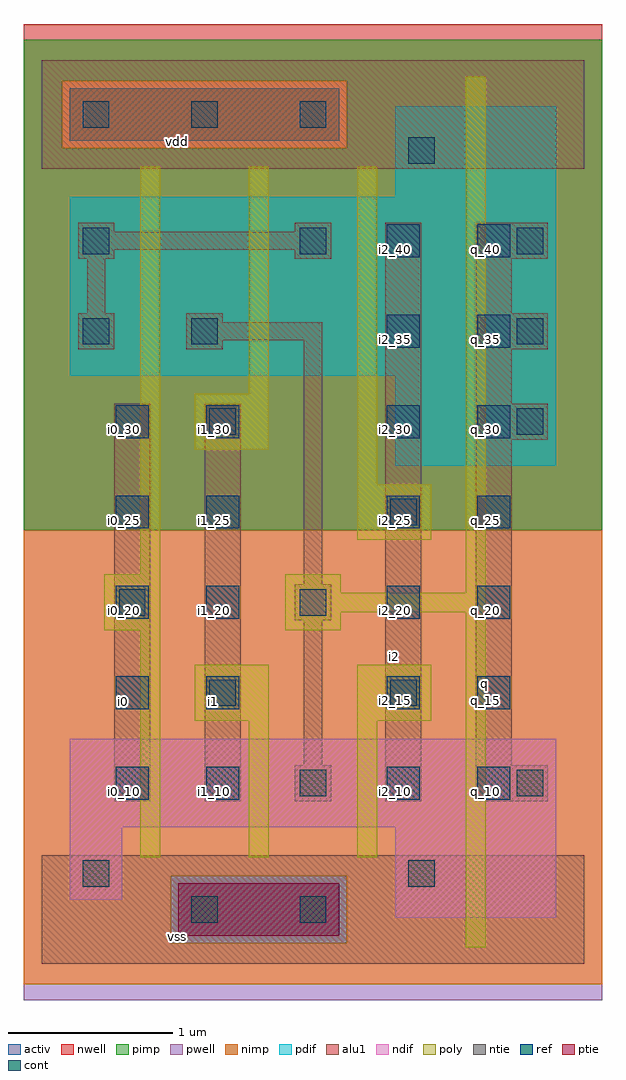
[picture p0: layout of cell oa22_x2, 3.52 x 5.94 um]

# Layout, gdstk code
import gdstk
lib = gdstk.Library(unit=1e-6, precision=2.5e-09)
def R(c, l, rs):  # rectangles x0, y0, x1, y1
    for r in rs: c.add(gdstk.rectangle(r[:2], r[2:], *l))
def A(c, l, x, y, w, h, nx, ny, dx, dy):  # array of equal rectangles
    R(c, l, [(x+i*dx, y+j*dy, x+i*dx+w, y+j*dy+h) for i in range(nx) for j in range(ny)])
ndif = (3, 0)
pdif = (4, 0)
ntie = (5, 0)
ptie = (6, 0)
ref = (24, 0)
cont = (25, 0)
pwell = (41, 0)
nwell = (42, 0)
activ = (43, 0)
pimp = (44, 0)
nimp = (45, 0)
poly = (46, 0)
alu1 = (49, 0)

oa22_x2 = lib.new_cell('oa22_x2')
R(oa22_x2, ndif, [(2.15,0.28,3.13,0.83), (2.15,0.28,3.13,0.83), (0.17,0.39,0.49,0.83), (0.17,0.39,0.49,0.83), (0.17,0.83,3.13,1.37), (0.17,0.83,3.13,1.37)])
R(oa22_x2, pdif, [(2.15,3.03,3.13,3.58), (2.15,3.03,3.13,3.58), (0.17,3.58,3.13,4.67), (0.17,3.58,3.13,4.67), (2.15,4.67,3.13,5.22), (2.15,4.67,3.13,5.22)])
R(oa22_x2, ntie, [(0.17,5.01,1.81,5.33), (0.17,5.01,1.81,5.33)])
R(oa22_x2, ptie, [(0.83,0.17,1.81,0.49), (0.83,0.17,1.81,0.49)])
A(oa22_x2, ref, 0.45, 1, 0.2, 0.2, 1, 5, 0, 0.55)
A(oa22_x2, ref, 1, 1, 0.2, 0.2, 1, 5, 0, 0.55)
A(oa22_x2, ref, 2.1, 1, 0.2, 0.2, 1, 7, 0, 0.55)
A(oa22_x2, ref, 2.65, 1, 0.2, 0.2, 1, 7, 0, 0.55)
A(oa22_x2, cont, 0.25, 4.32, 0.16, 0.16, 3, 1, 1.32, 0)
A(oa22_x2, cont, 0.25, 5.09, 0.16, 0.16, 3, 1, 0.66, 0)
R(oa22_x2, cont, [(0.91,0.25,1.07,0.41), (1.57,0.25,1.73,0.41), (0.25,0.47,0.41,0.63), (2.23,0.47,2.39,0.63), (1.57,1.02,1.73,1.18), (2.89,1.02,3.05,1.18), (1.02,1.57,1.18,1.73), (2.12,1.57,2.28,1.73), (0.47,2.12,0.63,2.28), (1.57,2.12,1.73,2.28), (2.12,2.67,2.28,2.83), (1.02,3.22,1.18,3.38), (2.89,3.22,3.05,3.38), (0.25,3.77,0.41,3.93), (0.91,3.77,1.07,3.93), (2.89,3.77,3.05,3.93), (2.23,4.87,2.39,5.03)])
R(oa22_x2, pwell, [(-0.11,-0.22,3.41,2.64)])
R(oa22_x2, nwell, [(-0.11,2.64,3.41,5.72)])
R(oa22_x2, activ, [(0.83,0.17,1.81,0.49), (0.83,0.17,1.81,0.49), (2.15,0.28,3.13,0.83), (2.15,0.28,3.13,0.83), (0.17,0.39,0.49,0.83), (0.17,0.39,0.49,0.83), (0.17,0.83,3.13,1.37), (0.17,0.83,3.13,1.37), (2.15,3.03,3.13,3.58), (2.15,3.03,3.13,3.58), (0.17,3.58,3.13,4.67), (0.17,3.58,3.13,4.67), (2.15,4.67,3.13,5.22), (2.15,4.67,3.13,5.22), (0.17,5.01,1.81,5.33), (0.17,5.01,1.81,5.33)])
R(oa22_x2, pimp, [(0.785,0.125,1.855,0.535), (-0.11,2.64,3.41,4.965), (-0.11,4.965,0.125,5.375), (1.855,4.965,3.41,5.375), (-0.11,5.375,3.41,5.625)])
R(oa22_x2, nimp, [(-0.11,-0.125,3.41,0.125), (-0.11,0.125,0.785,0.535), (1.855,0.125,3.41,0.535), (-0.11,0.535,3.41,2.64), (0.125,4.965,1.855,5.375)])
R(oa22_x2, poly, [(2.58,0.1,2.7,2.14), (0.6,0.65,0.72,2.03), (1.26,0.65,1.38,1.48), (1.92,0.65,2.04,1.48), (0.93,1.48,1.38,1.82), (1.92,1.48,2.37,1.82), (0.38,2.03,0.72,2.37), (1.48,2.03,1.82,2.14), (1.48,2.14,2.7,2.26), (1.48,2.26,1.82,2.37), (2.58,2.26,2.7,5.4), (0.6,2.37,0.72,4.85), (1.92,2.58,2.37,2.92), (1.92,2.92,2.04,4.85), (0.93,3.13,1.38,3.47), (1.26,3.47,1.38,4.85)])
A(oa22_x2, alu1, 2.64, 3.19, 0.44, 0.22, 1, 3, 0, 0.55)
R(oa22_x2, alu1, [(0,0,3.3,0.66), (0.44,0.99,0.66,3.41), (0.99,0.99,1.21,3.41), (1.54,0.99,1.76,1.21), (2.09,0.99,2.31,4.51), (2.64,0.99,3.08,1.21), (1.595,1.21,1.705,2.09), (2.64,1.21,2.86,3.19), (1.54,2.09,1.76,2.31), (1.595,2.31,1.705,3.795), (2.64,3.41,2.86,3.74), (0.22,3.74,0.44,3.96), (0.88,3.74,1.1,3.795), (0.88,3.795,1.705,3.905), (0.88,3.905,1.1,3.96), (0.275,3.96,0.385,4.29), (2.64,3.96,2.86,4.29), (0.22,4.29,0.44,4.345), (1.54,4.29,1.76,4.345), (0.22,4.345,1.76,4.455), (0.22,4.455,0.44,4.51), (1.54,4.455,1.76,4.51), (0,4.84,3.3,5.5)])
oa22_x2.add(gdstk.Label('vss', (0.825,0.165), layer=49, texttype=0))
oa22_x2.add(gdstk.Label('q', (2.695,1.705), layer=49, texttype=0))
oa22_x2.add(gdstk.Label('i2', (2.145,1.87), layer=49, texttype=0))
oa22_x2.add(gdstk.Label('i1', (1.045,1.595), layer=49, texttype=0))
oa22_x2.add(gdstk.Label('i0', (0.495,1.595), layer=49, texttype=0))
oa22_x2.add(gdstk.Label('vdd', (0.825,5.005), layer=49, texttype=0))
oa22_x2.add(gdstk.Label('i0_10', (0.5,1.05), layer=24, texttype=0))
oa22_x2.add(gdstk.Label('i0_15', (0.5,1.6), layer=24, texttype=0))
oa22_x2.add(gdstk.Label('i0_20', (0.5,2.15), layer=24, texttype=0))
oa22_x2.add(gdstk.Label('i0_25', (0.5,2.7), layer=24, texttype=0))
oa22_x2.add(gdstk.Label('i0_30', (0.5,3.25), layer=24, texttype=0))
oa22_x2.add(gdstk.Label('i1_30', (1.05,3.25), layer=24, texttype=0))
oa22_x2.add(gdstk.Label('i1_25', (1.05,2.7), layer=24, texttype=0))
oa22_x2.add(gdstk.Label('i1_20', (1.05,2.15), layer=24, texttype=0))
oa22_x2.add(gdstk.Label('i1_15', (1.05,1.6), layer=24, texttype=0))
oa22_x2.add(gdstk.Label('i1_10', (1.05,1.05), layer=24, texttype=0))
oa22_x2.add(gdstk.Label('i2_40', (2.15,4.35), layer=24, texttype=0))
oa22_x2.add(gdstk.Label('i2_35', (2.15,3.8), layer=24, texttype=0))
oa22_x2.add(gdstk.Label('i2_30', (2.15,3.25), layer=24, texttype=0))
oa22_x2.add(gdstk.Label('i2_25', (2.15,2.7), layer=24, texttype=0))
oa22_x2.add(gdstk.Label('i2_20', (2.15,2.15), layer=24, texttype=0))
oa22_x2.add(gdstk.Label('i2_15', (2.15,1.6), layer=24, texttype=0))
oa22_x2.add(gdstk.Label('i2_10', (2.15,1.05), layer=24, texttype=0))
oa22_x2.add(gdstk.Label('q_10', (2.7,1.05), layer=24, texttype=0))
oa22_x2.add(gdstk.Label('q_15', (2.7,1.6), layer=24, texttype=0))
oa22_x2.add(gdstk.Label('q_20', (2.7,2.15), layer=24, texttype=0))
oa22_x2.add(gdstk.Label('q_25', (2.7,2.7), layer=24, texttype=0))
oa22_x2.add(gdstk.Label('q_30', (2.7,3.25), layer=24, texttype=0))
oa22_x2.add(gdstk.Label('q_35', (2.7,3.8), layer=24, texttype=0))
oa22_x2.add(gdstk.Label('q_40', (2.7,4.35), layer=24, texttype=0))

lib.write_gds('oa22_x2.gds')
